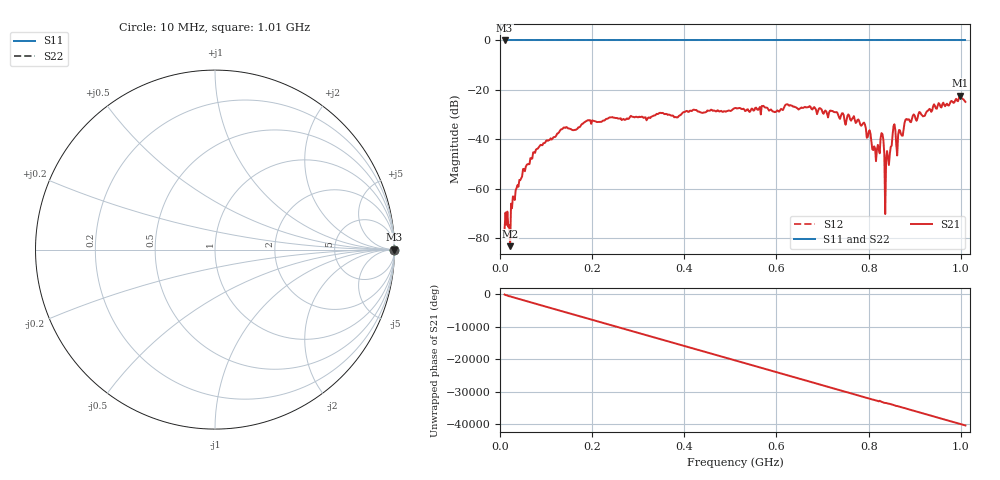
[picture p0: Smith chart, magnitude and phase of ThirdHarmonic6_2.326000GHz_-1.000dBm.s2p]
! 8/17/2025 3:20:12 AM
! C:\ANRITSUVNA\TEMP\TEMP.S2P
! CHANNEL.1
! TR.MEASUREMENT
! RAW.DATA
! RF.CORRECTION.OFF
! AVERAGING.OFF
! IF.BANDWIDTH: 5KHZ
! SWEEPTYPE:  FREQ.SWEEP(Linear)
! Reference Plane Port Info
! PORT:  PORT1  PORT2
! DISTANCE:  0  m  0  m
! TIME:  0  s  0  s
! PHASE.OFFSET:  0  deg.  0  deg.
! LOSS:  0  dB  0  dB
! REF.LOSS:  0  dB  0  dB
! REF.FREQ:  0  Hz  0  Hz
! Power Info
! POWER:  -20  dBm  -20  dBm
! EFF.POWER:  -20  dBm  -20  dBm
! SOURCE.ATTEN:  0  dB  0  dB
! TEST.ATTEN:  0  dB  0  dB
# GHZ S RI R 50.0
! FREQ.GHZ  S11RE  S11IM  S21RE  S21IM  S12RE  S12IM  S22RE  S22IM
!; PortSelection: Port_12
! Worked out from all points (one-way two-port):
!   501 points, 10 MHz to 1.01 GHz, reference 50 ohm
!   highest |S21| = -22.30 dB at 998 MHz (marker M1); lowest = -83.3 dB at 22 MHz (marker M2)
!   lowest |S11| = 0.0 dB at 10 MHz (marker M3)
!   |S11| at or under -10 dB: nowhere
!   |S22| runs from 0.0 to 0.0 dB; largest |S21 - S12| = 1.1
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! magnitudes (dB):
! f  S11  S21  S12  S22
! 10 MHz  0.0  -76.1  0.0  0.0
! 22 MHz  0.0  -83.3  0.0  0.0
! 28 MHz  0.0  -63.1  0.0  0.0
! 38 MHz  0.0  -58.6  0.0  0.0
! 76 MHz  0.0  -45.5  0.0  0.0
! 136 MHz  0.0  -35.7  0.0  0.0
! 178 MHz  0.0  -33.8  0.0  0.0
! 344 MHz  0.0  -29.6  0.0  0.0
! 510 MHz  0.0  -27.4  0.0  0.0
! 678 MHz  0.0  -27.9  0.0  0.0
! 790 MHz  0.0  -33.3  0.0  0.0
! 812 MHz  0.0  -42.9  0.0  0.0
! 820 MHz  0.0  -42.3  0.0  0.0
! 830 MHz  0.0  -37.9  0.0  0.0
! 832 MHz  0.0  -40.2  0.0  0.0
! 840 MHz  0.0  -44.8  0.0  0.0
! 844 MHz  0.0  -50.4  0.0  0.0
! 854 MHz  0.0  -34.7  0.0  0.0
! 864 MHz  0.0  -38.4  0.0  0.0
! 882 MHz  0.0  -31.8  0.0  0.0
! 998 MHz  0.0  -22.3  0.0  0.0
! 1.01 GHz  0.0  -24.8  0.0  0.0
